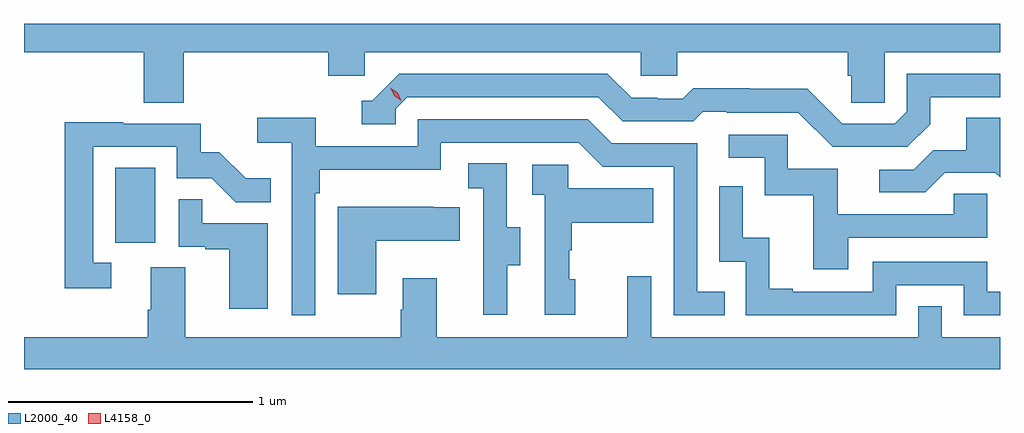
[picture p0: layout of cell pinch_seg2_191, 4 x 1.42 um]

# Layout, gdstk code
import gdstk
lib = gdstk.Library(unit=1e-6, precision=1e-09)
def R(c, l, rs):  # rectangles x0, y0, x1, y1
    for r in rs: c.add(gdstk.rectangle(r[:2], r[2:], *l))
def P(c, l, *ps):  # polygons
    for p in ps: c.add(gdstk.Polygon(p, *l))
L2000_40 = (2000, 40)
L4158_0 = (4158, 0)

pinch_seg2_191 = lib.new_cell('pinch_seg2_191')
R(pinch_seg2_191, L2000_40, [(1001.594,665.502,1001.758,665.809)])
P(pinch_seg2_191, L2000_40, [(1001.876,666.284),(1002.467,666.284),(1002.467,666.186),(1002.618,666.186),(1002.618,666.284),(1003.749,666.284),(1003.749,666.186),(1003.899,666.186),(1003.899,666.284),(1004.597,666.284),(1004.597,666.186),(1004.611,666.186),(1004.611,666.076),(1004.748,666.076),(1004.748,666.284),(1005.221,666.284),(1005.221,666.4),(1001.221,666.4),(1001.221,666.284),(1001.711,666.284),(1001.711,666.076),(1001.876,666.076)],
  [(1004.935,665.989),(1004.935,666.099),(1005.221,666.099),(1005.221,666.195),(1004.838,666.195),(1004.838,666.039),(1004.79,665.991),(1004.574,665.991),(1004.432,666.133),(1004.196,666.133),(1004.196,666.136),(1003.963,666.136),(1003.921,666.093),(1003.818,666.093),(1003.818,666.096),(1003.711,666.096),(1003.612,666.195),(1002.759,666.195),(1002.648,666.084),(1002.605,666.084),(1002.605,665.988),(1002.744,665.988),(1002.744,666.051),(1002.792,666.099),(1003.575,666.099),(1003.674,666),(1003.963,666),(1004.002,666.039),(1004.101,666.039),(1004.101,666.036),(1004.394,666.036),(1004.535,665.895),(1004.841,665.895)],
  [(1004.995,665.79),(1005.201,665.79),(1005.221,665.77),(1005.221,666.014),(1005.083,666.014),(1005.083,665.882),(1004.948,665.882),(1004.868,665.802),(1004.727,665.802),(1004.727,665.709),(1004.914,665.709)],
  [(1002.414,665.705),(1002.434,665.705),(1002.434,665.801),(1002.93,665.801),(1002.93,665.913),(1003.494,665.913),(1003.593,665.814),(1003.884,665.814),(1003.884,665.205),(1004.093,665.205),(1004.093,665.301),(1003.98,665.301),(1003.98,665.91),(1003.63,665.91),(1003.531,666.009),(1002.834,666.009),(1002.834,665.898),(1002.416,665.898),(1002.416,666.014),(1002.177,666.014),(1002.177,665.912),(1002.318,665.912),(1002.318,665.205),(1002.414,665.205)],
  [(1001.578,665.421),(1001.505,665.421),(1001.505,665.895),(1001.847,665.895),(1001.847,665.766),(1001.991,665.766),(1002.089,665.668),(1002.233,665.668),(1002.233,665.767),(1002.129,665.767),(1002.022,665.874),(1001.946,665.874),(1001.946,665.991),(1001.627,665.991),(1001.627,665.996),(1001.389,665.996),(1001.389,665.316),(1001.578,665.316)],
  [(1004.599,665.523),(1005.168,665.523),(1005.168,665.703),(1005.031,665.703),(1005.031,665.619),(1004.557,665.619),(1004.557,665.805),(1004.352,665.805),(1004.352,665.946),(1004.109,665.946),(1004.109,665.85),(1004.256,665.85),(1004.256,665.697),(1004.455,665.697),(1004.455,665.394),(1004.599,665.394)],
  [(1003.201,665.41),(1003.255,665.41),(1003.255,665.565),(1003.2,665.565),(1003.2,665.828),(1003.041,665.828),(1003.041,665.725),(1003.104,665.725),(1003.104,665.421),(1003.103,665.421),(1003.103,665.208),(1003.201,665.208)],
  [(1003.48,665.352),(1003.455,665.352),(1003.455,665.471),(1003.465,665.471),(1003.465,665.585),(1003.799,665.585),(1003.799,665.725),(1003.452,665.725),(1003.452,665.823),(1003.305,665.823),(1003.305,665.699),(1003.356,665.699),(1003.356,665.208),(1003.48,665.208)],
  [(1004.796,665.328),(1005.072,665.328),(1005.072,665.205),(1005.221,665.205),(1005.221,665.301),(1005.168,665.301),(1005.168,665.424),(1004.7,665.424),(1004.7,665.301),(1004.371,665.301),(1004.371,665.314),(1004.276,665.314),(1004.276,665.522),(1004.166,665.522),(1004.166,665.734),(1004.07,665.734),(1004.07,665.424),(1004.178,665.424),(1004.178,665.205),(1004.796,665.205)],
  [(1002.22,665.583),(1001.951,665.583),(1001.951,665.681),(1001.856,665.681),(1001.856,665.487),(1001.963,665.487),(1001.963,665.475),(1002.062,665.475),(1002.062,665.232),(1002.22,665.232)],
  [(1002.664,665.51),(1003.007,665.51),(1003.007,665.647),(1002.899,665.647),(1002.899,665.65),(1002.506,665.65),(1002.506,665.292),(1002.664,665.292)],
  [(1005.221,665.116),(1004.982,665.116),(1004.982,665.243),(1004.886,665.243),(1004.886,665.116),(1003.791,665.116),(1003.791,665.365),(1003.694,665.365),(1003.694,665.116),(1002.913,665.116),(1002.913,665.356),(1002.773,665.356),(1002.773,665.228),(1002.766,665.228),(1002.766,665.116),(1001.881,665.116),(1001.881,665.402),(1001.741,665.402),(1001.741,665.228),(1001.729,665.228),(1001.729,665.116),(1001.221,665.116),(1001.221,664.984),(1005.221,664.984)])
P(pinch_seg2_191, L4158_0, [(1002.768,666.085),(1002.738,666.105),(1002.722,666.138),(1002.722,666.138),(1002.722,666.138),(1002.753,666.118),(1002.768,666.085),(1002.768,666.085)])

lib.write_gds('pinch_seg2_191.gds')
